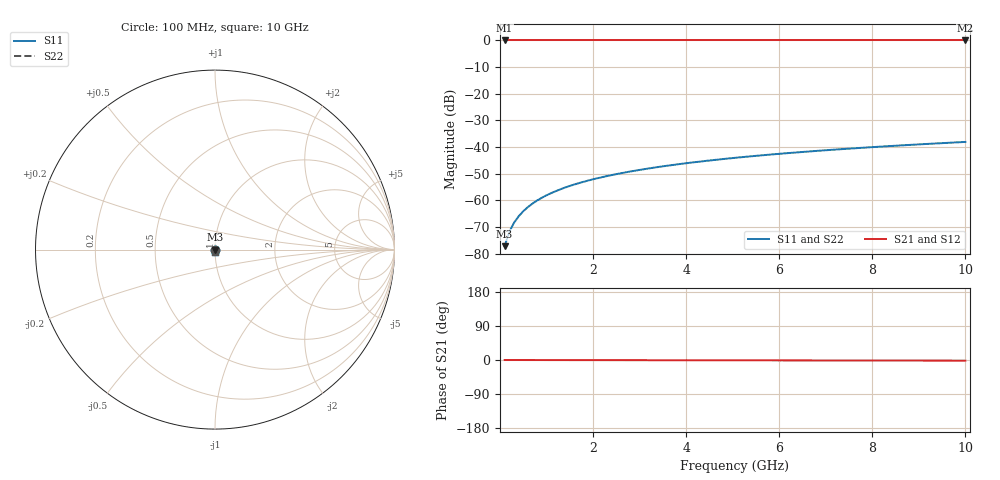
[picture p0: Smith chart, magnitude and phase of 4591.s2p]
# Hz S RI R 50.00
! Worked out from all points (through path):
!   100 points, 100 MHz to 10 GHz, reference 50 ohm
!   highest |S21| = 0.00 dB at 100 MHz (marker M1); lowest = 0.0 dB at 10 GHz (marker M2)
!   lowest |S11| = -77.2 dB at 100 MHz (marker M3), VSWR 1.00, Z = 50 - j0.0124 ohm
!   |S11| at or under -10 dB: start of sweep to end of sweep
!   |S22| runs from -77.2 to -38.1 dB; largest |S21 - S12| = 0
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1e8  6.01e-05 -0.000124  0.9999 -0.000291  0.9999 -0.000291  6.01e-05 -0.000124
2e8  6.02e-05 -0.000247  0.9999 -0.000583  0.9999 -0.000583  6.02e-05 -0.000247
3e8  6.01e-05 -0.000371  0.9999 -0.000874  0.9999 -0.000874  6.01e-05 -0.000371
4e8  5.99e-05 -0.000495  0.9999 -0.00117  0.9999 -0.00117  5.99e-05 -0.000495
5e8  5.96e-05 -0.000618  0.9999 -0.00146  0.9999 -0.00146  5.96e-05 -0.000618
6e8  5.92e-05 -0.000742  0.9999 -0.00175  0.9999 -0.00175  5.92e-05 -0.000742
7e8  5.87e-05 -0.000865  0.9999 -0.00204  0.9999 -0.00204  5.87e-05 -0.000865
8e8  5.81e-05 -0.000989  0.9999 -0.00233  0.9999 -0.00233  5.81e-05 -0.000989
9e8  5.75e-05 -0.00111  0.9999 -0.00262  0.9999 -0.00262  5.75e-05 -0.00111
1.1e9  5.59e-05 -0.00136  0.9999 -0.00321  0.9999 -0.00321  5.59e-05 -0.00136
1.4e9  5.3e-05 -0.00173  0.9999 -0.00408  0.9999 -0.00408  5.3e-05 -0.00173
1.8e9  4.8e-05 -0.00223  0.9999 -0.00525  0.9999 -0.00525  4.8e-05 -0.00223
2.1e9  4.35e-05 -0.0026  0.9999 -0.00612  0.9999 -0.00612  4.35e-05 -0.0026
2.5e9  3.64e-05 -0.00309  0.9999 -0.00729  0.9999 -0.00729  3.64e-05 -0.00309
2.9e9  2.82e-05 -0.00359  0.9999 -0.00846  0.9999 -0.00846  2.82e-05 -0.00359
3.4e9  1.63e-05 -0.00421  0.9999 -0.00992  0.9999 -0.00992  1.63e-05 -0.00421
4.2e9  -6.67e-06 -0.0052  0.9998 -0.0123  0.9998 -0.0123  -6.67e-06 -0.0052
5.1e9  -3.81e-05 -0.00632  0.9998 -0.0149  0.9998 -0.0149  -3.81e-05 -0.00632
5.9e9  -7.1e-05 -0.00732  0.9997 -0.0172  0.9997 -0.0172  -7.1e-05 -0.00732
6.7e9  -0.000109 -0.00831  0.9997 -0.0196  0.9997 -0.0196  -0.000109 -0.00831
8.4e9  -0.000204 -0.0104  0.9996 -0.0246  0.9996 -0.0246  -0.000204 -0.0104
1e10  -0.000314 -0.0124  0.9994 -0.0293  0.9994 -0.0293  -0.000314 -0.0124
